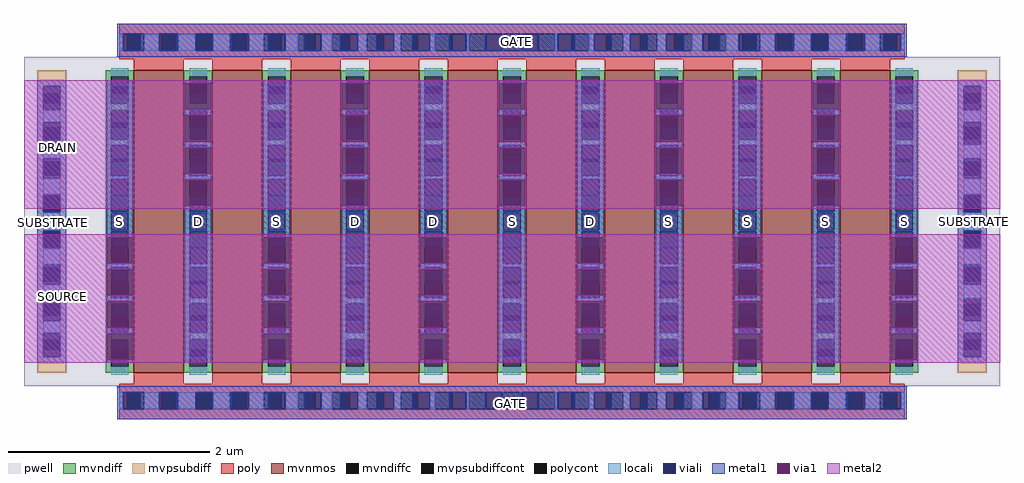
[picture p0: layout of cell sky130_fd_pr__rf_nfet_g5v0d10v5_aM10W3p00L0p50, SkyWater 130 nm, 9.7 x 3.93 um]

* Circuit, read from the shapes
.subckt sky130_fd_pr__rf_nfet_g5v0d10v5_aM10W3p00L0p50 DRAIN GATE SOURCE SUBSTRATE
XM1 DRAIN GATE SOURCE SUBSTRATE sky130_fd_pr__nfet_g5v0d10v5 w=3.01 l=0.5 m=10
.ends

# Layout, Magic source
magic
tech sky130A
magscale 1 2
<< pwell >>
rect 10 66 1950 720
<< mvnmos >>
rect 228 92 328 694
rect 384 92 484 694
rect 540 92 640 694
rect 696 92 796 694
rect 852 92 952 694
rect 1008 92 1108 694
rect 1164 92 1264 694
rect 1320 92 1420 694
rect 1476 92 1576 694
rect 1632 92 1732 694
<< mvndiff >>
rect 172 682 228 694
rect 172 648 183 682
rect 217 648 228 682
rect 172 614 228 648
rect 172 580 183 614
rect 217 580 228 614
rect 172 546 228 580
rect 172 512 183 546
rect 217 512 228 546
rect 172 478 228 512
rect 172 444 183 478
rect 217 444 228 478
rect 172 410 228 444
rect 172 376 183 410
rect 217 376 228 410
rect 172 342 228 376
rect 172 308 183 342
rect 217 308 228 342
rect 172 274 228 308
rect 172 240 183 274
rect 217 240 228 274
rect 172 206 228 240
rect 172 172 183 206
rect 217 172 228 206
rect 172 138 228 172
rect 172 104 183 138
rect 217 104 228 138
rect 172 92 228 104
rect 328 682 384 694
rect 328 648 339 682
rect 373 648 384 682
rect 328 614 384 648
rect 328 580 339 614
rect 373 580 384 614
rect 328 546 384 580
rect 328 512 339 546
rect 373 512 384 546
rect 328 478 384 512
rect 328 444 339 478
rect 373 444 384 478
rect 328 410 384 444
rect 328 376 339 410
rect 373 376 384 410
rect 328 342 384 376
rect 328 308 339 342
rect 373 308 384 342
rect 328 274 384 308
rect 328 240 339 274
rect 373 240 384 274
rect 328 206 384 240
rect 328 172 339 206
rect 373 172 384 206
rect 328 138 384 172
rect 328 104 339 138
rect 373 104 384 138
rect 328 92 384 104
rect 484 682 540 694
rect 484 648 495 682
rect 529 648 540 682
rect 484 614 540 648
rect 484 580 495 614
rect 529 580 540 614
rect 484 546 540 580
rect 484 512 495 546
rect 529 512 540 546
rect 484 478 540 512
rect 484 444 495 478
rect 529 444 540 478
rect 484 410 540 444
rect 484 376 495 410
rect 529 376 540 410
rect 484 342 540 376
rect 484 308 495 342
rect 529 308 540 342
rect 484 274 540 308
rect 484 240 495 274
rect 529 240 540 274
rect 484 206 540 240
rect 484 172 495 206
rect 529 172 540 206
rect 484 138 540 172
rect 484 104 495 138
rect 529 104 540 138
rect 484 92 540 104
rect 640 682 696 694
rect 640 648 651 682
rect 685 648 696 682
rect 640 614 696 648
rect 640 580 651 614
rect 685 580 696 614
rect 640 546 696 580
rect 640 512 651 546
rect 685 512 696 546
rect 640 478 696 512
rect 640 444 651 478
rect 685 444 696 478
rect 640 410 696 444
rect 640 376 651 410
rect 685 376 696 410
rect 640 342 696 376
rect 640 308 651 342
rect 685 308 696 342
rect 640 274 696 308
rect 640 240 651 274
rect 685 240 696 274
rect 640 206 696 240
rect 640 172 651 206
rect 685 172 696 206
rect 640 138 696 172
rect 640 104 651 138
rect 685 104 696 138
rect 640 92 696 104
rect 796 682 852 694
rect 796 648 807 682
rect 841 648 852 682
rect 796 614 852 648
rect 796 580 807 614
rect 841 580 852 614
rect 796 546 852 580
rect 796 512 807 546
rect 841 512 852 546
rect 796 478 852 512
rect 796 444 807 478
rect 841 444 852 478
rect 796 410 852 444
rect 796 376 807 410
rect 841 376 852 410
rect 796 342 852 376
rect 796 308 807 342
rect 841 308 852 342
rect 796 274 852 308
rect 796 240 807 274
rect 841 240 852 274
rect 796 206 852 240
rect 796 172 807 206
rect 841 172 852 206
rect 796 138 852 172
rect 796 104 807 138
rect 841 104 852 138
rect 796 92 852 104
rect 952 682 1008 694
rect 952 648 963 682
rect 997 648 1008 682
rect 952 614 1008 648
rect 952 580 963 614
rect 997 580 1008 614
rect 952 546 1008 580
rect 952 512 963 546
rect 997 512 1008 546
rect 952 478 1008 512
rect 952 444 963 478
rect 997 444 1008 478
rect 952 410 1008 444
rect 952 376 963 410
rect 997 376 1008 410
rect 952 342 1008 376
rect 952 308 963 342
rect 997 308 1008 342
rect 952 274 1008 308
rect 952 240 963 274
rect 997 240 1008 274
rect 952 206 1008 240
rect 952 172 963 206
rect 997 172 1008 206
rect 952 138 1008 172
rect 952 104 963 138
rect 997 104 1008 138
rect 952 92 1008 104
rect 1108 682 1164 694
rect 1108 648 1119 682
rect 1153 648 1164 682
rect 1108 614 1164 648
rect 1108 580 1119 614
rect 1153 580 1164 614
rect 1108 546 1164 580
rect 1108 512 1119 546
rect 1153 512 1164 546
rect 1108 478 1164 512
rect 1108 444 1119 478
rect 1153 444 1164 478
rect 1108 410 1164 444
rect 1108 376 1119 410
rect 1153 376 1164 410
rect 1108 342 1164 376
rect 1108 308 1119 342
rect 1153 308 1164 342
rect 1108 274 1164 308
rect 1108 240 1119 274
rect 1153 240 1164 274
rect 1108 206 1164 240
rect 1108 172 1119 206
rect 1153 172 1164 206
rect 1108 138 1164 172
rect 1108 104 1119 138
rect 1153 104 1164 138
rect 1108 92 1164 104
rect 1264 682 1320 694
rect 1264 648 1275 682
rect 1309 648 1320 682
rect 1264 614 1320 648
rect 1264 580 1275 614
rect 1309 580 1320 614
rect 1264 546 1320 580
rect 1264 512 1275 546
rect 1309 512 1320 546
rect 1264 478 1320 512
rect 1264 444 1275 478
rect 1309 444 1320 478
rect 1264 410 1320 444
rect 1264 376 1275 410
rect 1309 376 1320 410
rect 1264 342 1320 376
rect 1264 308 1275 342
rect 1309 308 1320 342
rect 1264 274 1320 308
rect 1264 240 1275 274
rect 1309 240 1320 274
rect 1264 206 1320 240
rect 1264 172 1275 206
rect 1309 172 1320 206
rect 1264 138 1320 172
rect 1264 104 1275 138
rect 1309 104 1320 138
rect 1264 92 1320 104
rect 1420 682 1476 694
rect 1420 648 1431 682
rect 1465 648 1476 682
rect 1420 614 1476 648
rect 1420 580 1431 614
rect 1465 580 1476 614
rect 1420 546 1476 580
rect 1420 512 1431 546
rect 1465 512 1476 546
rect 1420 478 1476 512
rect 1420 444 1431 478
rect 1465 444 1476 478
rect 1420 410 1476 444
rect 1420 376 1431 410
rect 1465 376 1476 410
rect 1420 342 1476 376
rect 1420 308 1431 342
rect 1465 308 1476 342
rect 1420 274 1476 308
rect 1420 240 1431 274
rect 1465 240 1476 274
rect 1420 206 1476 240
rect 1420 172 1431 206
rect 1465 172 1476 206
rect 1420 138 1476 172
rect 1420 104 1431 138
rect 1465 104 1476 138
rect 1420 92 1476 104
rect 1576 682 1632 694
rect 1576 648 1587 682
rect 1621 648 1632 682
rect 1576 614 1632 648
rect 1576 580 1587 614
rect 1621 580 1632 614
rect 1576 546 1632 580
rect 1576 512 1587 546
rect 1621 512 1632 546
rect 1576 478 1632 512
rect 1576 444 1587 478
rect 1621 444 1632 478
rect 1576 410 1632 444
rect 1576 376 1587 410
rect 1621 376 1632 410
rect 1576 342 1632 376
rect 1576 308 1587 342
rect 1621 308 1632 342
rect 1576 274 1632 308
rect 1576 240 1587 274
rect 1621 240 1632 274
rect 1576 206 1632 240
rect 1576 172 1587 206
rect 1621 172 1632 206
rect 1576 138 1632 172
rect 1576 104 1587 138
rect 1621 104 1632 138
rect 1576 92 1632 104
rect 1732 682 1788 694
rect 1732 648 1743 682
rect 1777 648 1788 682
rect 1732 614 1788 648
rect 1732 580 1743 614
rect 1777 580 1788 614
rect 1732 546 1788 580
rect 1732 512 1743 546
rect 1777 512 1788 546
rect 1732 478 1788 512
rect 1732 444 1743 478
rect 1777 444 1788 478
rect 1732 410 1788 444
rect 1732 376 1743 410
rect 1777 376 1788 410
rect 1732 342 1788 376
rect 1732 308 1743 342
rect 1777 308 1788 342
rect 1732 274 1788 308
rect 1732 240 1743 274
rect 1777 240 1788 274
rect 1732 206 1788 240
rect 1732 172 1743 206
rect 1777 172 1788 206
rect 1732 138 1788 172
rect 1732 104 1743 138
rect 1777 104 1788 138
rect 1732 92 1788 104
<< mvndiffc >>
rect 183 648 217 682
rect 183 580 217 614
rect 183 512 217 546
rect 183 444 217 478
rect 183 376 217 410
rect 183 308 217 342
rect 183 240 217 274
rect 183 172 217 206
rect 183 104 217 138
rect 339 648 373 682
rect 339 580 373 614
rect 339 512 373 546
rect 339 444 373 478
rect 339 376 373 410
rect 339 308 373 342
rect 339 240 373 274
rect 339 172 373 206
rect 339 104 373 138
rect 495 648 529 682
rect 495 580 529 614
rect 495 512 529 546
rect 495 444 529 478
rect 495 376 529 410
rect 495 308 529 342
rect 495 240 529 274
rect 495 172 529 206
rect 495 104 529 138
rect 651 648 685 682
rect 651 580 685 614
rect 651 512 685 546
rect 651 444 685 478
rect 651 376 685 410
rect 651 308 685 342
rect 651 240 685 274
rect 651 172 685 206
rect 651 104 685 138
rect 807 648 841 682
rect 807 580 841 614
rect 807 512 841 546
rect 807 444 841 478
rect 807 376 841 410
rect 807 308 841 342
rect 807 240 841 274
rect 807 172 841 206
rect 807 104 841 138
rect 963 648 997 682
rect 963 580 997 614
rect 963 512 997 546
rect 963 444 997 478
rect 963 376 997 410
rect 963 308 997 342
rect 963 240 997 274
rect 963 172 997 206
rect 963 104 997 138
rect 1119 648 1153 682
rect 1119 580 1153 614
rect 1119 512 1153 546
rect 1119 444 1153 478
rect 1119 376 1153 410
rect 1119 308 1153 342
rect 1119 240 1153 274
rect 1119 172 1153 206
rect 1119 104 1153 138
rect 1275 648 1309 682
rect 1275 580 1309 614
rect 1275 512 1309 546
rect 1275 444 1309 478
rect 1275 376 1309 410
rect 1275 308 1309 342
rect 1275 240 1309 274
rect 1275 172 1309 206
rect 1275 104 1309 138
rect 1431 648 1465 682
rect 1431 580 1465 614
rect 1431 512 1465 546
rect 1431 444 1465 478
rect 1431 376 1465 410
rect 1431 308 1465 342
rect 1431 240 1465 274
rect 1431 172 1465 206
rect 1431 104 1465 138
rect 1587 648 1621 682
rect 1587 580 1621 614
rect 1587 512 1621 546
rect 1587 444 1621 478
rect 1587 376 1621 410
rect 1587 308 1621 342
rect 1587 240 1621 274
rect 1587 172 1621 206
rect 1587 104 1621 138
rect 1743 648 1777 682
rect 1743 580 1777 614
rect 1743 512 1777 546
rect 1743 444 1777 478
rect 1743 376 1777 410
rect 1743 308 1777 342
rect 1743 240 1777 274
rect 1743 172 1777 206
rect 1743 104 1777 138
<< mvpsubdiff >>
rect 36 648 94 694
rect 36 614 48 648
rect 82 614 94 648
rect 36 580 94 614
rect 36 546 48 580
rect 82 546 94 580
rect 36 512 94 546
rect 36 478 48 512
rect 82 478 94 512
rect 36 444 94 478
rect 36 410 48 444
rect 82 410 94 444
rect 36 376 94 410
rect 36 342 48 376
rect 82 342 94 376
rect 36 308 94 342
rect 36 274 48 308
rect 82 274 94 308
rect 36 240 94 274
rect 36 206 48 240
rect 82 206 94 240
rect 36 172 94 206
rect 36 138 48 172
rect 82 138 94 172
rect 36 92 94 138
rect 1866 648 1924 694
rect 1866 614 1878 648
rect 1912 614 1924 648
rect 1866 580 1924 614
rect 1866 546 1878 580
rect 1912 546 1924 580
rect 1866 512 1924 546
rect 1866 478 1878 512
rect 1912 478 1924 512
rect 1866 444 1924 478
rect 1866 410 1878 444
rect 1912 410 1924 444
rect 1866 376 1924 410
rect 1866 342 1878 376
rect 1912 342 1924 376
rect 1866 308 1924 342
rect 1866 274 1878 308
rect 1912 274 1924 308
rect 1866 240 1924 274
rect 1866 206 1878 240
rect 1912 206 1924 240
rect 1866 172 1924 206
rect 1866 138 1878 172
rect 1912 138 1924 172
rect 1866 92 1924 138
<< mvpsubdiffcont >>
rect 48 614 82 648
rect 48 546 82 580
rect 48 478 82 512
rect 48 410 82 444
rect 48 342 82 376
rect 48 274 82 308
rect 48 206 82 240
rect 48 138 82 172
rect 1878 614 1912 648
rect 1878 546 1912 580
rect 1878 478 1912 512
rect 1878 410 1912 444
rect 1878 342 1912 376
rect 1878 274 1912 308
rect 1878 206 1912 240
rect 1878 138 1912 172
<< poly >>
rect 199 766 1761 786
rect 199 732 215 766
rect 249 732 283 766
rect 317 732 351 766
rect 385 732 419 766
rect 453 732 487 766
rect 521 732 555 766
rect 589 732 623 766
rect 657 732 691 766
rect 725 732 759 766
rect 793 732 827 766
rect 861 732 895 766
rect 929 732 963 766
rect 997 732 1031 766
rect 1065 732 1099 766
rect 1133 732 1167 766
rect 1201 732 1235 766
rect 1269 732 1303 766
rect 1337 732 1371 766
rect 1405 732 1439 766
rect 1473 732 1507 766
rect 1541 732 1575 766
rect 1609 732 1643 766
rect 1677 732 1711 766
rect 1745 732 1761 766
rect 199 716 1761 732
rect 228 694 328 716
rect 384 694 484 716
rect 540 694 640 716
rect 696 694 796 716
rect 852 694 952 716
rect 1008 694 1108 716
rect 1164 694 1264 716
rect 1320 694 1420 716
rect 1476 694 1576 716
rect 1632 694 1732 716
rect 228 70 328 92
rect 384 70 484 92
rect 540 70 640 92
rect 696 70 796 92
rect 852 70 952 92
rect 1008 70 1108 92
rect 1164 70 1264 92
rect 1320 70 1420 92
rect 1476 70 1576 92
rect 1632 70 1732 92
rect 199 54 1761 70
rect 199 20 215 54
rect 249 20 283 54
rect 317 20 351 54
rect 385 20 419 54
rect 453 20 487 54
rect 521 20 555 54
rect 589 20 623 54
rect 657 20 691 54
rect 725 20 759 54
rect 793 20 827 54
rect 861 20 895 54
rect 929 20 963 54
rect 997 20 1031 54
rect 1065 20 1099 54
rect 1133 20 1167 54
rect 1201 20 1235 54
rect 1269 20 1303 54
rect 1337 20 1371 54
rect 1405 20 1439 54
rect 1473 20 1507 54
rect 1541 20 1575 54
rect 1609 20 1643 54
rect 1677 20 1711 54
rect 1745 20 1761 54
rect 199 0 1761 20
<< polycont >>
rect 215 732 249 766
rect 283 732 317 766
rect 351 732 385 766
rect 419 732 453 766
rect 487 732 521 766
rect 555 732 589 766
rect 623 732 657 766
rect 691 732 725 766
rect 759 732 793 766
rect 827 732 861 766
rect 895 732 929 766
rect 963 732 997 766
rect 1031 732 1065 766
rect 1099 732 1133 766
rect 1167 732 1201 766
rect 1235 732 1269 766
rect 1303 732 1337 766
rect 1371 732 1405 766
rect 1439 732 1473 766
rect 1507 732 1541 766
rect 1575 732 1609 766
rect 1643 732 1677 766
rect 1711 732 1745 766
rect 215 20 249 54
rect 283 20 317 54
rect 351 20 385 54
rect 419 20 453 54
rect 487 20 521 54
rect 555 20 589 54
rect 623 20 657 54
rect 691 20 725 54
rect 759 20 793 54
rect 827 20 861 54
rect 895 20 929 54
rect 963 20 997 54
rect 1031 20 1065 54
rect 1099 20 1133 54
rect 1167 20 1201 54
rect 1235 20 1269 54
rect 1303 20 1337 54
rect 1371 20 1405 54
rect 1439 20 1473 54
rect 1507 20 1541 54
rect 1575 20 1609 54
rect 1643 20 1677 54
rect 1711 20 1745 54
<< locali >>
rect 199 732 207 766
rect 249 732 279 766
rect 317 732 351 766
rect 385 732 419 766
rect 457 732 487 766
rect 529 732 555 766
rect 601 732 623 766
rect 673 732 691 766
rect 745 732 759 766
rect 817 732 827 766
rect 889 732 895 766
rect 961 732 963 766
rect 997 732 999 766
rect 1065 732 1071 766
rect 1133 732 1143 766
rect 1201 732 1215 766
rect 1269 732 1287 766
rect 1337 732 1359 766
rect 1405 732 1431 766
rect 1473 732 1503 766
rect 1541 732 1575 766
rect 1609 732 1643 766
rect 1681 732 1711 766
rect 1753 732 1761 766
rect 183 682 217 698
rect 48 662 82 664
rect 48 590 82 614
rect 48 518 82 546
rect 48 446 82 478
rect 48 376 82 410
rect 48 308 82 340
rect 48 240 82 268
rect 48 172 82 196
rect 48 122 82 124
rect 183 614 217 628
rect 183 546 217 556
rect 183 478 217 484
rect 183 410 217 412
rect 183 374 217 376
rect 183 302 217 308
rect 183 230 217 240
rect 183 158 217 172
rect 183 88 217 104
rect 339 682 373 698
rect 339 614 373 628
rect 339 546 373 556
rect 339 478 373 484
rect 339 410 373 412
rect 339 374 373 376
rect 339 302 373 308
rect 339 230 373 240
rect 339 158 373 172
rect 339 88 373 104
rect 495 682 529 698
rect 495 614 529 628
rect 495 546 529 556
rect 495 478 529 484
rect 495 410 529 412
rect 495 374 529 376
rect 495 302 529 308
rect 495 230 529 240
rect 495 158 529 172
rect 495 88 529 104
rect 651 682 685 698
rect 651 614 685 628
rect 651 546 685 556
rect 651 478 685 484
rect 651 410 685 412
rect 651 374 685 376
rect 651 302 685 308
rect 651 230 685 240
rect 651 158 685 172
rect 651 88 685 104
rect 807 682 841 698
rect 807 614 841 628
rect 807 546 841 556
rect 807 478 841 484
rect 807 410 841 412
rect 807 374 841 376
rect 807 302 841 308
rect 807 230 841 240
rect 807 158 841 172
rect 807 88 841 104
rect 963 682 997 698
rect 963 614 997 628
rect 963 546 997 556
rect 963 478 997 484
rect 963 410 997 412
rect 963 374 997 376
rect 963 302 997 308
rect 963 230 997 240
rect 963 158 997 172
rect 963 88 997 104
rect 1119 682 1153 698
rect 1119 614 1153 628
rect 1119 546 1153 556
rect 1119 478 1153 484
rect 1119 410 1153 412
rect 1119 374 1153 376
rect 1119 302 1153 308
rect 1119 230 1153 240
rect 1119 158 1153 172
rect 1119 88 1153 104
rect 1275 682 1309 698
rect 1275 614 1309 628
rect 1275 546 1309 556
rect 1275 478 1309 484
rect 1275 410 1309 412
rect 1275 374 1309 376
rect 1275 302 1309 308
rect 1275 230 1309 240
rect 1275 158 1309 172
rect 1275 88 1309 104
rect 1431 682 1465 698
rect 1431 614 1465 628
rect 1431 546 1465 556
rect 1431 478 1465 484
rect 1431 410 1465 412
rect 1431 374 1465 376
rect 1431 302 1465 308
rect 1431 230 1465 240
rect 1431 158 1465 172
rect 1431 88 1465 104
rect 1587 682 1621 698
rect 1587 614 1621 628
rect 1587 546 1621 556
rect 1587 478 1621 484
rect 1587 410 1621 412
rect 1587 374 1621 376
rect 1587 302 1621 308
rect 1587 230 1621 240
rect 1587 158 1621 172
rect 1587 88 1621 104
rect 1743 682 1777 698
rect 1743 614 1777 628
rect 1743 546 1777 556
rect 1743 478 1777 484
rect 1743 410 1777 412
rect 1743 374 1777 376
rect 1743 302 1777 308
rect 1743 230 1777 240
rect 1743 158 1777 172
rect 1878 662 1912 664
rect 1878 590 1912 614
rect 1878 518 1912 546
rect 1878 446 1912 478
rect 1878 376 1912 410
rect 1878 308 1912 340
rect 1878 240 1912 268
rect 1878 172 1912 196
rect 1878 122 1912 124
rect 1743 88 1777 104
rect 199 20 207 54
rect 249 20 279 54
rect 317 20 351 54
rect 385 20 419 54
rect 457 20 487 54
rect 529 20 555 54
rect 601 20 623 54
rect 673 20 691 54
rect 745 20 759 54
rect 817 20 827 54
rect 889 20 895 54
rect 961 20 963 54
rect 997 20 999 54
rect 1065 20 1071 54
rect 1133 20 1143 54
rect 1201 20 1215 54
rect 1269 20 1287 54
rect 1337 20 1359 54
rect 1405 20 1431 54
rect 1473 20 1503 54
rect 1541 20 1575 54
rect 1609 20 1643 54
rect 1681 20 1711 54
rect 1753 20 1761 54
<< viali >>
rect 207 732 215 766
rect 215 732 241 766
rect 279 732 283 766
rect 283 732 313 766
rect 351 732 385 766
rect 423 732 453 766
rect 453 732 457 766
rect 495 732 521 766
rect 521 732 529 766
rect 567 732 589 766
rect 589 732 601 766
rect 639 732 657 766
rect 657 732 673 766
rect 711 732 725 766
rect 725 732 745 766
rect 783 732 793 766
rect 793 732 817 766
rect 855 732 861 766
rect 861 732 889 766
rect 927 732 929 766
rect 929 732 961 766
rect 999 732 1031 766
rect 1031 732 1033 766
rect 1071 732 1099 766
rect 1099 732 1105 766
rect 1143 732 1167 766
rect 1167 732 1177 766
rect 1215 732 1235 766
rect 1235 732 1249 766
rect 1287 732 1303 766
rect 1303 732 1321 766
rect 1359 732 1371 766
rect 1371 732 1393 766
rect 1431 732 1439 766
rect 1439 732 1465 766
rect 1503 732 1507 766
rect 1507 732 1537 766
rect 1575 732 1609 766
rect 1647 732 1677 766
rect 1677 732 1681 766
rect 1719 732 1745 766
rect 1745 732 1753 766
rect 48 648 82 662
rect 48 628 82 648
rect 48 580 82 590
rect 48 556 82 580
rect 48 512 82 518
rect 48 484 82 512
rect 48 444 82 446
rect 48 412 82 444
rect 48 342 82 374
rect 48 340 82 342
rect 48 274 82 302
rect 48 268 82 274
rect 48 206 82 230
rect 48 196 82 206
rect 48 138 82 158
rect 48 124 82 138
rect 183 648 217 662
rect 183 628 217 648
rect 183 580 217 590
rect 183 556 217 580
rect 183 512 217 518
rect 183 484 217 512
rect 183 444 217 446
rect 183 412 217 444
rect 183 342 217 374
rect 183 340 217 342
rect 183 274 217 302
rect 183 268 217 274
rect 183 206 217 230
rect 183 196 217 206
rect 183 138 217 158
rect 183 124 217 138
rect 339 648 373 662
rect 339 628 373 648
rect 339 580 373 590
rect 339 556 373 580
rect 339 512 373 518
rect 339 484 373 512
rect 339 444 373 446
rect 339 412 373 444
rect 339 342 373 374
rect 339 340 373 342
rect 339 274 373 302
rect 339 268 373 274
rect 339 206 373 230
rect 339 196 373 206
rect 339 138 373 158
rect 339 124 373 138
rect 495 648 529 662
rect 495 628 529 648
rect 495 580 529 590
rect 495 556 529 580
rect 495 512 529 518
rect 495 484 529 512
rect 495 444 529 446
rect 495 412 529 444
rect 495 342 529 374
rect 495 340 529 342
rect 495 274 529 302
rect 495 268 529 274
rect 495 206 529 230
rect 495 196 529 206
rect 495 138 529 158
rect 495 124 529 138
rect 651 648 685 662
rect 651 628 685 648
rect 651 580 685 590
rect 651 556 685 580
rect 651 512 685 518
rect 651 484 685 512
rect 651 444 685 446
rect 651 412 685 444
rect 651 342 685 374
rect 651 340 685 342
rect 651 274 685 302
rect 651 268 685 274
rect 651 206 685 230
rect 651 196 685 206
rect 651 138 685 158
rect 651 124 685 138
rect 807 648 841 662
rect 807 628 841 648
rect 807 580 841 590
rect 807 556 841 580
rect 807 512 841 518
rect 807 484 841 512
rect 807 444 841 446
rect 807 412 841 444
rect 807 342 841 374
rect 807 340 841 342
rect 807 274 841 302
rect 807 268 841 274
rect 807 206 841 230
rect 807 196 841 206
rect 807 138 841 158
rect 807 124 841 138
rect 963 648 997 662
rect 963 628 997 648
rect 963 580 997 590
rect 963 556 997 580
rect 963 512 997 518
rect 963 484 997 512
rect 963 444 997 446
rect 963 412 997 444
rect 963 342 997 374
rect 963 340 997 342
rect 963 274 997 302
rect 963 268 997 274
rect 963 206 997 230
rect 963 196 997 206
rect 963 138 997 158
rect 963 124 997 138
rect 1119 648 1153 662
rect 1119 628 1153 648
rect 1119 580 1153 590
rect 1119 556 1153 580
rect 1119 512 1153 518
rect 1119 484 1153 512
rect 1119 444 1153 446
rect 1119 412 1153 444
rect 1119 342 1153 374
rect 1119 340 1153 342
rect 1119 274 1153 302
rect 1119 268 1153 274
rect 1119 206 1153 230
rect 1119 196 1153 206
rect 1119 138 1153 158
rect 1119 124 1153 138
rect 1275 648 1309 662
rect 1275 628 1309 648
rect 1275 580 1309 590
rect 1275 556 1309 580
rect 1275 512 1309 518
rect 1275 484 1309 512
rect 1275 444 1309 446
rect 1275 412 1309 444
rect 1275 342 1309 374
rect 1275 340 1309 342
rect 1275 274 1309 302
rect 1275 268 1309 274
rect 1275 206 1309 230
rect 1275 196 1309 206
rect 1275 138 1309 158
rect 1275 124 1309 138
rect 1431 648 1465 662
rect 1431 628 1465 648
rect 1431 580 1465 590
rect 1431 556 1465 580
rect 1431 512 1465 518
rect 1431 484 1465 512
rect 1431 444 1465 446
rect 1431 412 1465 444
rect 1431 342 1465 374
rect 1431 340 1465 342
rect 1431 274 1465 302
rect 1431 268 1465 274
rect 1431 206 1465 230
rect 1431 196 1465 206
rect 1431 138 1465 158
rect 1431 124 1465 138
rect 1587 648 1621 662
rect 1587 628 1621 648
rect 1587 580 1621 590
rect 1587 556 1621 580
rect 1587 512 1621 518
rect 1587 484 1621 512
rect 1587 444 1621 446
rect 1587 412 1621 444
rect 1587 342 1621 374
rect 1587 340 1621 342
rect 1587 274 1621 302
rect 1587 268 1621 274
rect 1587 206 1621 230
rect 1587 196 1621 206
rect 1587 138 1621 158
rect 1587 124 1621 138
rect 1743 648 1777 662
rect 1743 628 1777 648
rect 1743 580 1777 590
rect 1743 556 1777 580
rect 1743 512 1777 518
rect 1743 484 1777 512
rect 1743 444 1777 446
rect 1743 412 1777 444
rect 1743 342 1777 374
rect 1743 340 1777 342
rect 1743 274 1777 302
rect 1743 268 1777 274
rect 1743 206 1777 230
rect 1743 196 1777 206
rect 1743 138 1777 158
rect 1743 124 1777 138
rect 1878 648 1912 662
rect 1878 628 1912 648
rect 1878 580 1912 590
rect 1878 556 1912 580
rect 1878 512 1912 518
rect 1878 484 1912 512
rect 1878 444 1912 446
rect 1878 412 1912 444
rect 1878 342 1912 374
rect 1878 340 1912 342
rect 1878 274 1912 302
rect 1878 268 1912 274
rect 1878 206 1912 230
rect 1878 196 1912 206
rect 1878 138 1912 158
rect 1878 124 1912 138
rect 207 20 215 54
rect 215 20 241 54
rect 279 20 283 54
rect 283 20 313 54
rect 351 20 385 54
rect 423 20 453 54
rect 453 20 457 54
rect 495 20 521 54
rect 521 20 529 54
rect 567 20 589 54
rect 589 20 601 54
rect 639 20 657 54
rect 657 20 673 54
rect 711 20 725 54
rect 725 20 745 54
rect 783 20 793 54
rect 793 20 817 54
rect 855 20 861 54
rect 861 20 889 54
rect 927 20 929 54
rect 929 20 961 54
rect 999 20 1031 54
rect 1031 20 1033 54
rect 1071 20 1099 54
rect 1099 20 1105 54
rect 1143 20 1167 54
rect 1167 20 1177 54
rect 1215 20 1235 54
rect 1235 20 1249 54
rect 1287 20 1303 54
rect 1303 20 1321 54
rect 1359 20 1371 54
rect 1371 20 1393 54
rect 1431 20 1439 54
rect 1439 20 1465 54
rect 1503 20 1507 54
rect 1507 20 1537 54
rect 1575 20 1609 54
rect 1647 20 1677 54
rect 1677 20 1681 54
rect 1719 20 1745 54
rect 1745 20 1753 54
<< metal1 >>
rect 195 766 1765 786
rect 195 732 207 766
rect 241 732 279 766
rect 313 732 351 766
rect 385 732 423 766
rect 457 732 495 766
rect 529 732 567 766
rect 601 732 639 766
rect 673 732 711 766
rect 745 732 783 766
rect 817 732 855 766
rect 889 732 927 766
rect 961 732 999 766
rect 1033 732 1071 766
rect 1105 732 1143 766
rect 1177 732 1215 766
rect 1249 732 1287 766
rect 1321 732 1359 766
rect 1393 732 1431 766
rect 1465 732 1503 766
rect 1537 732 1575 766
rect 1609 732 1647 766
rect 1681 732 1719 766
rect 1753 732 1765 766
rect 195 720 1765 732
rect 36 662 94 674
rect 36 628 48 662
rect 82 628 94 662
rect 36 590 94 628
rect 36 556 48 590
rect 82 556 94 590
rect 36 518 94 556
rect 36 484 48 518
rect 82 484 94 518
rect 36 446 94 484
rect 36 412 48 446
rect 82 412 94 446
rect 36 374 94 412
rect 36 340 48 374
rect 82 340 94 374
rect 36 302 94 340
rect 36 268 48 302
rect 82 268 94 302
rect 36 230 94 268
rect 36 196 48 230
rect 82 196 94 230
rect 36 158 94 196
rect 36 124 48 158
rect 82 124 94 158
rect 36 112 94 124
rect 174 662 226 674
rect 174 628 183 662
rect 217 628 226 662
rect 174 590 226 628
rect 174 556 183 590
rect 217 556 226 590
rect 174 518 226 556
rect 174 484 183 518
rect 217 484 226 518
rect 174 446 226 484
rect 174 412 183 446
rect 217 412 226 446
rect 174 374 226 412
rect 174 362 183 374
rect 217 362 226 374
rect 174 302 226 310
rect 174 298 183 302
rect 217 298 226 302
rect 174 234 226 246
rect 174 170 226 182
rect 174 112 226 118
rect 330 668 382 674
rect 330 604 382 616
rect 330 540 382 552
rect 330 484 339 488
rect 373 484 382 488
rect 330 476 382 484
rect 330 412 339 424
rect 373 412 382 424
rect 330 374 382 412
rect 330 340 339 374
rect 373 340 382 374
rect 330 302 382 340
rect 330 268 339 302
rect 373 268 382 302
rect 330 230 382 268
rect 330 196 339 230
rect 373 196 382 230
rect 330 158 382 196
rect 330 124 339 158
rect 373 124 382 158
rect 330 112 382 124
rect 486 662 538 674
rect 486 628 495 662
rect 529 628 538 662
rect 486 590 538 628
rect 486 556 495 590
rect 529 556 538 590
rect 486 518 538 556
rect 486 484 495 518
rect 529 484 538 518
rect 486 446 538 484
rect 486 412 495 446
rect 529 412 538 446
rect 486 374 538 412
rect 486 362 495 374
rect 529 362 538 374
rect 486 302 538 310
rect 486 298 495 302
rect 529 298 538 302
rect 486 234 538 246
rect 486 170 538 182
rect 486 112 538 118
rect 642 668 694 674
rect 642 604 694 616
rect 642 540 694 552
rect 642 484 651 488
rect 685 484 694 488
rect 642 476 694 484
rect 642 412 651 424
rect 685 412 694 424
rect 642 374 694 412
rect 642 340 651 374
rect 685 340 694 374
rect 642 302 694 340
rect 642 268 651 302
rect 685 268 694 302
rect 642 230 694 268
rect 642 196 651 230
rect 685 196 694 230
rect 642 158 694 196
rect 642 124 651 158
rect 685 124 694 158
rect 642 112 694 124
rect 798 662 850 674
rect 798 628 807 662
rect 841 628 850 662
rect 798 590 850 628
rect 798 556 807 590
rect 841 556 850 590
rect 798 518 850 556
rect 798 484 807 518
rect 841 484 850 518
rect 798 446 850 484
rect 798 412 807 446
rect 841 412 850 446
rect 798 374 850 412
rect 798 362 807 374
rect 841 362 850 374
rect 798 302 850 310
rect 798 298 807 302
rect 841 298 850 302
rect 798 234 850 246
rect 798 170 850 182
rect 798 112 850 118
rect 954 668 1006 674
rect 954 604 1006 616
rect 954 540 1006 552
rect 954 484 963 488
rect 997 484 1006 488
rect 954 476 1006 484
rect 954 412 963 424
rect 997 412 1006 424
rect 954 374 1006 412
rect 954 340 963 374
rect 997 340 1006 374
rect 954 302 1006 340
rect 954 268 963 302
rect 997 268 1006 302
rect 954 230 1006 268
rect 954 196 963 230
rect 997 196 1006 230
rect 954 158 1006 196
rect 954 124 963 158
rect 997 124 1006 158
rect 954 112 1006 124
rect 1110 662 1162 674
rect 1110 628 1119 662
rect 1153 628 1162 662
rect 1110 590 1162 628
rect 1110 556 1119 590
rect 1153 556 1162 590
rect 1110 518 1162 556
rect 1110 484 1119 518
rect 1153 484 1162 518
rect 1110 446 1162 484
rect 1110 412 1119 446
rect 1153 412 1162 446
rect 1110 374 1162 412
rect 1110 362 1119 374
rect 1153 362 1162 374
rect 1110 302 1162 310
rect 1110 298 1119 302
rect 1153 298 1162 302
rect 1110 234 1162 246
rect 1110 170 1162 182
rect 1110 112 1162 118
rect 1266 668 1318 674
rect 1266 604 1318 616
rect 1266 540 1318 552
rect 1266 484 1275 488
rect 1309 484 1318 488
rect 1266 476 1318 484
rect 1266 412 1275 424
rect 1309 412 1318 424
rect 1266 374 1318 412
rect 1266 340 1275 374
rect 1309 340 1318 374
rect 1266 302 1318 340
rect 1266 268 1275 302
rect 1309 268 1318 302
rect 1266 230 1318 268
rect 1266 196 1275 230
rect 1309 196 1318 230
rect 1266 158 1318 196
rect 1266 124 1275 158
rect 1309 124 1318 158
rect 1266 112 1318 124
rect 1422 662 1474 674
rect 1422 628 1431 662
rect 1465 628 1474 662
rect 1422 590 1474 628
rect 1422 556 1431 590
rect 1465 556 1474 590
rect 1422 518 1474 556
rect 1422 484 1431 518
rect 1465 484 1474 518
rect 1422 446 1474 484
rect 1422 412 1431 446
rect 1465 412 1474 446
rect 1422 374 1474 412
rect 1422 362 1431 374
rect 1465 362 1474 374
rect 1422 302 1474 310
rect 1422 298 1431 302
rect 1465 298 1474 302
rect 1422 234 1474 246
rect 1422 170 1474 182
rect 1422 112 1474 118
rect 1578 668 1630 674
rect 1578 604 1630 616
rect 1578 540 1630 552
rect 1578 484 1587 488
rect 1621 484 1630 488
rect 1578 476 1630 484
rect 1578 412 1587 424
rect 1621 412 1630 424
rect 1578 374 1630 412
rect 1578 340 1587 374
rect 1621 340 1630 374
rect 1578 302 1630 340
rect 1578 268 1587 302
rect 1621 268 1630 302
rect 1578 230 1630 268
rect 1578 196 1587 230
rect 1621 196 1630 230
rect 1578 158 1630 196
rect 1578 124 1587 158
rect 1621 124 1630 158
rect 1578 112 1630 124
rect 1734 662 1786 674
rect 1734 628 1743 662
rect 1777 628 1786 662
rect 1734 590 1786 628
rect 1734 556 1743 590
rect 1777 556 1786 590
rect 1734 518 1786 556
rect 1734 484 1743 518
rect 1777 484 1786 518
rect 1734 446 1786 484
rect 1734 412 1743 446
rect 1777 412 1786 446
rect 1734 374 1786 412
rect 1734 362 1743 374
rect 1777 362 1786 374
rect 1734 302 1786 310
rect 1734 298 1743 302
rect 1777 298 1786 302
rect 1734 234 1786 246
rect 1734 170 1786 182
rect 1734 112 1786 118
rect 1866 662 1924 674
rect 1866 628 1878 662
rect 1912 628 1924 662
rect 1866 590 1924 628
rect 1866 556 1878 590
rect 1912 556 1924 590
rect 1866 518 1924 556
rect 1866 484 1878 518
rect 1912 484 1924 518
rect 1866 446 1924 484
rect 1866 412 1878 446
rect 1912 412 1924 446
rect 1866 374 1924 412
rect 1866 340 1878 374
rect 1912 340 1924 374
rect 1866 302 1924 340
rect 1866 268 1878 302
rect 1912 268 1924 302
rect 1866 230 1924 268
rect 1866 196 1878 230
rect 1912 196 1924 230
rect 1866 158 1924 196
rect 1866 124 1878 158
rect 1912 124 1924 158
rect 1866 112 1924 124
rect 195 54 1765 66
rect 195 20 207 54
rect 241 20 279 54
rect 313 20 351 54
rect 385 20 423 54
rect 457 20 495 54
rect 529 20 567 54
rect 601 20 639 54
rect 673 20 711 54
rect 745 20 783 54
rect 817 20 855 54
rect 889 20 927 54
rect 961 20 999 54
rect 1033 20 1071 54
rect 1105 20 1143 54
rect 1177 20 1215 54
rect 1249 20 1287 54
rect 1321 20 1359 54
rect 1393 20 1431 54
rect 1465 20 1503 54
rect 1537 20 1575 54
rect 1609 20 1647 54
rect 1681 20 1719 54
rect 1753 20 1765 54
rect 195 0 1765 20
<< via1 >>
rect 174 340 183 362
rect 183 340 217 362
rect 217 340 226 362
rect 174 310 226 340
rect 174 268 183 298
rect 183 268 217 298
rect 217 268 226 298
rect 174 246 226 268
rect 174 230 226 234
rect 174 196 183 230
rect 183 196 217 230
rect 217 196 226 230
rect 174 182 226 196
rect 174 158 226 170
rect 174 124 183 158
rect 183 124 217 158
rect 217 124 226 158
rect 174 118 226 124
rect 330 662 382 668
rect 330 628 339 662
rect 339 628 373 662
rect 373 628 382 662
rect 330 616 382 628
rect 330 590 382 604
rect 330 556 339 590
rect 339 556 373 590
rect 373 556 382 590
rect 330 552 382 556
rect 330 518 382 540
rect 330 488 339 518
rect 339 488 373 518
rect 373 488 382 518
rect 330 446 382 476
rect 330 424 339 446
rect 339 424 373 446
rect 373 424 382 446
rect 486 340 495 362
rect 495 340 529 362
rect 529 340 538 362
rect 486 310 538 340
rect 486 268 495 298
rect 495 268 529 298
rect 529 268 538 298
rect 486 246 538 268
rect 486 230 538 234
rect 486 196 495 230
rect 495 196 529 230
rect 529 196 538 230
rect 486 182 538 196
rect 486 158 538 170
rect 486 124 495 158
rect 495 124 529 158
rect 529 124 538 158
rect 486 118 538 124
rect 642 662 694 668
rect 642 628 651 662
rect 651 628 685 662
rect 685 628 694 662
rect 642 616 694 628
rect 642 590 694 604
rect 642 556 651 590
rect 651 556 685 590
rect 685 556 694 590
rect 642 552 694 556
rect 642 518 694 540
rect 642 488 651 518
rect 651 488 685 518
rect 685 488 694 518
rect 642 446 694 476
rect 642 424 651 446
rect 651 424 685 446
rect 685 424 694 446
rect 798 340 807 362
rect 807 340 841 362
rect 841 340 850 362
rect 798 310 850 340
rect 798 268 807 298
rect 807 268 841 298
rect 841 268 850 298
rect 798 246 850 268
rect 798 230 850 234
rect 798 196 807 230
rect 807 196 841 230
rect 841 196 850 230
rect 798 182 850 196
rect 798 158 850 170
rect 798 124 807 158
rect 807 124 841 158
rect 841 124 850 158
rect 798 118 850 124
rect 954 662 1006 668
rect 954 628 963 662
rect 963 628 997 662
rect 997 628 1006 662
rect 954 616 1006 628
rect 954 590 1006 604
rect 954 556 963 590
rect 963 556 997 590
rect 997 556 1006 590
rect 954 552 1006 556
rect 954 518 1006 540
rect 954 488 963 518
rect 963 488 997 518
rect 997 488 1006 518
rect 954 446 1006 476
rect 954 424 963 446
rect 963 424 997 446
rect 997 424 1006 446
rect 1110 340 1119 362
rect 1119 340 1153 362
rect 1153 340 1162 362
rect 1110 310 1162 340
rect 1110 268 1119 298
rect 1119 268 1153 298
rect 1153 268 1162 298
rect 1110 246 1162 268
rect 1110 230 1162 234
rect 1110 196 1119 230
rect 1119 196 1153 230
rect 1153 196 1162 230
rect 1110 182 1162 196
rect 1110 158 1162 170
rect 1110 124 1119 158
rect 1119 124 1153 158
rect 1153 124 1162 158
rect 1110 118 1162 124
rect 1266 662 1318 668
rect 1266 628 1275 662
rect 1275 628 1309 662
rect 1309 628 1318 662
rect 1266 616 1318 628
rect 1266 590 1318 604
rect 1266 556 1275 590
rect 1275 556 1309 590
rect 1309 556 1318 590
rect 1266 552 1318 556
rect 1266 518 1318 540
rect 1266 488 1275 518
rect 1275 488 1309 518
rect 1309 488 1318 518
rect 1266 446 1318 476
rect 1266 424 1275 446
rect 1275 424 1309 446
rect 1309 424 1318 446
rect 1422 340 1431 362
rect 1431 340 1465 362
rect 1465 340 1474 362
rect 1422 310 1474 340
rect 1422 268 1431 298
rect 1431 268 1465 298
rect 1465 268 1474 298
rect 1422 246 1474 268
rect 1422 230 1474 234
rect 1422 196 1431 230
rect 1431 196 1465 230
rect 1465 196 1474 230
rect 1422 182 1474 196
rect 1422 158 1474 170
rect 1422 124 1431 158
rect 1431 124 1465 158
rect 1465 124 1474 158
rect 1422 118 1474 124
rect 1578 662 1630 668
rect 1578 628 1587 662
rect 1587 628 1621 662
rect 1621 628 1630 662
rect 1578 616 1630 628
rect 1578 590 1630 604
rect 1578 556 1587 590
rect 1587 556 1621 590
rect 1621 556 1630 590
rect 1578 552 1630 556
rect 1578 518 1630 540
rect 1578 488 1587 518
rect 1587 488 1621 518
rect 1621 488 1630 518
rect 1578 446 1630 476
rect 1578 424 1587 446
rect 1587 424 1621 446
rect 1621 424 1630 446
rect 1734 340 1743 362
rect 1743 340 1777 362
rect 1777 340 1786 362
rect 1734 310 1786 340
rect 1734 268 1743 298
rect 1743 268 1777 298
rect 1777 268 1786 298
rect 1734 246 1786 268
rect 1734 230 1786 234
rect 1734 196 1743 230
rect 1743 196 1777 230
rect 1777 196 1786 230
rect 1734 182 1786 196
rect 1734 158 1786 170
rect 1734 124 1743 158
rect 1743 124 1777 158
rect 1777 124 1786 158
rect 1734 118 1786 124
<< metal2 >>
rect 10 668 1950 674
rect 10 616 330 668
rect 382 616 642 668
rect 694 616 954 668
rect 1006 616 1266 668
rect 1318 616 1578 668
rect 1630 616 1950 668
rect 10 604 1950 616
rect 10 552 330 604
rect 382 552 642 604
rect 694 552 954 604
rect 1006 552 1266 604
rect 1318 552 1578 604
rect 1630 552 1950 604
rect 10 540 1950 552
rect 10 488 330 540
rect 382 488 642 540
rect 694 488 954 540
rect 1006 488 1266 540
rect 1318 488 1578 540
rect 1630 488 1950 540
rect 10 476 1950 488
rect 10 424 330 476
rect 382 424 642 476
rect 694 424 954 476
rect 1006 424 1266 476
rect 1318 424 1578 476
rect 1630 424 1950 476
rect 10 418 1950 424
rect 10 362 1950 368
rect 10 310 174 362
rect 226 310 486 362
rect 538 310 798 362
rect 850 310 1110 362
rect 1162 310 1422 362
rect 1474 310 1734 362
rect 1786 310 1950 362
rect 10 298 1950 310
rect 10 246 174 298
rect 226 246 486 298
rect 538 246 798 298
rect 850 246 1110 298
rect 1162 246 1422 298
rect 1474 246 1734 298
rect 1786 246 1950 298
rect 10 234 1950 246
rect 10 182 174 234
rect 226 182 486 234
rect 538 182 798 234
rect 850 182 1110 234
rect 1162 182 1422 234
rect 1474 182 1734 234
rect 1786 182 1950 234
rect 10 170 1950 182
rect 10 118 174 170
rect 226 118 486 170
rect 538 118 798 170
rect 850 118 1110 170
rect 1162 118 1422 170
rect 1474 118 1734 170
rect 1786 118 1950 170
rect 10 112 1950 118
<< labels >>
flabel comment s 356 393 356 393 0 FreeSans 300 0 0 0 D
flabel comment s 356 393 356 393 0 FreeSans 300 0 0 0 S
flabel comment s 200 393 200 393 0 FreeSans 300 0 0 0 S
flabel comment s 200 393 200 393 0 FreeSans 300 0 0 0 S
flabel comment s 668 393 668 393 0 FreeSans 300 0 0 0 D
flabel comment s 512 393 512 393 0 FreeSans 300 0 0 0 S
flabel comment s 668 393 668 393 0 FreeSans 300 0 0 0 S
flabel comment s 512 393 512 393 0 FreeSans 300 0 0 0 S
flabel comment s 1136 393 1136 393 0 FreeSans 300 0 0 0 D
flabel comment s 980 393 980 393 0 FreeSans 300 0 0 0 S
flabel comment s 824 393 824 393 0 FreeSans 300 0 0 0 D
flabel comment s 1136 393 1136 393 0 FreeSans 300 0 0 0 S
flabel comment s 980 393 980 393 0 FreeSans 300 0 0 0 S
flabel comment s 824 393 824 393 0 FreeSans 300 0 0 0 S
flabel comment s 1292 393 1292 393 0 FreeSans 300 0 0 0 S
flabel comment s 1448 393 1448 393 0 FreeSans 300 0 0 0 S
flabel comment s 1604 393 1604 393 0 FreeSans 300 0 0 0 S
flabel comment s 1292 393 1292 393 0 FreeSans 300 0 0 0 D
flabel comment s 1448 393 1448 393 0 FreeSans 300 0 0 0 S
flabel comment s 1604 393 1604 393 0 FreeSans 300 0 0 0 D
flabel comment s 1760 393 1760 393 0 FreeSans 300 0 0 0 S
flabel metal2 s 31 219 142 267 0 FreeSans 200 0 0 0 SOURCE
port 3 nsew
flabel metal2 s 28 514 125 567 0 FreeSans 200 0 0 0 DRAIN
port 1 nsew
flabel metal1 s 1884 318 1914 468 0 FreeSans 200 90 0 0 SUBSTRATE
port 4 nsew
flabel metal1 s 927 734 1049 767 0 FreeSans 200 0 0 0 GATE
port 2 nsew
flabel metal1 s 929 14 1026 49 0 FreeSans 200 0 0 0 GATE
port 2 nsew
flabel metal1 s 56 326 82 455 0 FreeSans 200 90 0 0 SUBSTRATE
port 4 nsew
<< properties >>
string GDS_FILE $PDKPATH/libs.ref/sky130_fd_pr/gds/sky130_fd_pr.gds
string GDS_END 7449252
string GDS_START 7417798
<< end >>
